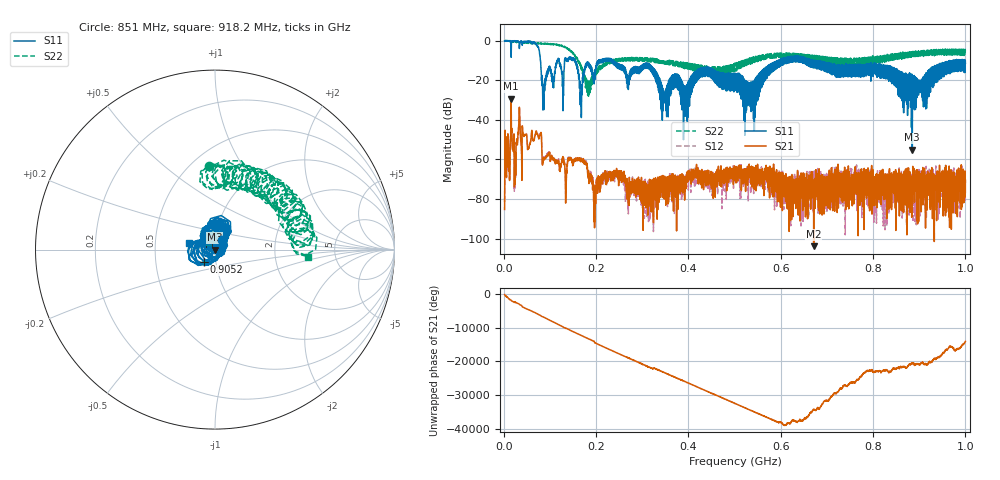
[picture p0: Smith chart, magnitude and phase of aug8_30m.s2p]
!Keysight Technologies N9923A: A.12.45
!Date: Friday, 08 August 2025 17:51:57
!Timezone: (UTC+08:00) Kuala Lumpur, Singapore
!Model: N9923A
!Serial: MY61181427
!GPS Latitude:
!GPS Longitude:
!GPS TimeStamp: 0001-01-01 00:00:00Z
!GPS Seconds Since Last Read: 0
!CHECKSUM:0881740323
!Correction: S11(ON U)S21(ON U)S12(ON U)S22(ON U)
!S2P File: Measurements:S11,S21,S12,S22:
# Hz S DB R 50
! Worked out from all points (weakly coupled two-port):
!   4001 points, 2 MHz to 1 GHz, reference 50 ohm
!   highest |S21| = -29.39 dB at 15.97 MHz (marker M1); lowest = -103.9 dB at 671.4 MHz (marker M2)
!   lowest |S11| = -55.1 dB at 885 MHz (marker M3), VSWR 1.00, Z = 49.8 + j0.0388 ohm
!   |S11| at or under -10 dB: 155.2 MHz to 205.9 MHz (50.66 MHz wide, 28.1 % of centre); 236.1 MHz to 594.5 MHz (358.5 MHz wide, 86.3 % of centre); 675.7 MHz to 972.5 MHz (296.8 MHz wide, 36 % of centre) (the widest 3 of 96)
!   |S22| runs from -28.1 to 0.1 dB; largest |S21 - S12| = 0.0012
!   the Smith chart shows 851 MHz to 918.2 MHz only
!   S11 on the Smith chart (normalised r, x): 851 MHz: 1.07, +0.12; 905.2 MHz: 0.88, -0.12; 918.2 MHz: 0.74, +0.06
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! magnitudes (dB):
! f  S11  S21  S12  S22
! 2 MHz  -0.1  -85.3  -81.4  0.0
! 15.97 MHz  -6.9  -29.4  -29.5  -0.6
! 70.86 MHz  -2.0  -45.8  -45.5  -1.2
! 86.83 MHz  -34.9  -59.9  -58.6  -1.7
! 145.2 MHz  -8.4  -60.1  -59.1  -5.5
! 168.4 MHz  -36.0  -59.9  -59.6  -13.9
! 179.1 MHz  -11.4  -62.1  -61.3  -21.4
! 197.1 MHz  -19.0  -80.1  -75.4  -17.2
! 222.6 MHz  -9.0  -69.2  -68.6  -10.9
! 334.8 MHz  -19.1  -81.0  -72.8  -11.3
! 348.3 MHz  -31.2  -73.7  -73.0  -11.8
! 429.9 MHz  -13.8  -68.7  -69.0  -12.6
! 501 MHz  -16.4  -67.6  -67.9  -15.4
! 538.2 MHz  -23.4  -65.8  -64.1  -11.6
! 667.4 MHz  -10.2  -75.5  -71.3  -8.2
! 671.4 MHz  -13.8  -103.9  -78.4  -10.2
! 833.8 MHz  -18.8  -76.2  -76.2  -8.1
! 851 MHz  -23.4  -74.6  -68.9  -6.6
! 885 MHz  -55.1  -71.0  -73.4  -6.0
! 905.2 MHz  -20.7  -69.3  -82.7  -5.3
! 918.2 MHz  -16.4  -74.0  -72.6  -5.7
! 1 GHz  -11.5  -70.5  -73.4  -6.1
